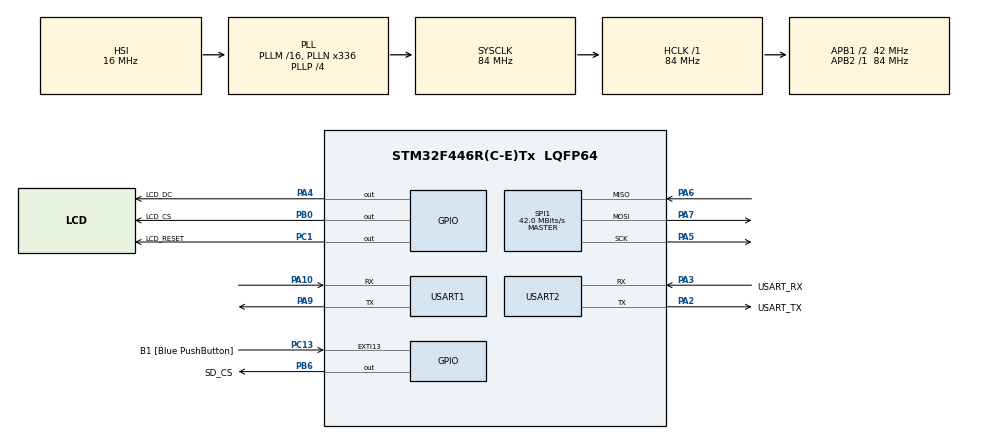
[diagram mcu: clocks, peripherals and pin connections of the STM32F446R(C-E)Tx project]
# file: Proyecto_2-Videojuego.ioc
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Mcu.Family=STM32F4
Mcu.Name=STM32F446R(C-E)Tx
Mcu.Package=LQFP64
NVIC.PriorityGroup=NVIC_PRIORITYGROUP_0
NVIC.SPI1_IRQn=true\:0\:0\:false\:false\:true\:true\:true\:true
NVIC.USART1_IRQn=true\:0\:0\:false\:false\:true\:true\:true\:true
PA10.Mode=Asynchronous
PA10.Signal=USART1_RX
PA13.GPIO_Label=TMS
PA13.Mode=Serial_Wire
PA13.Signal=SYS_JTMS-SWDIO
PA14.GPIO_Label=TCK
PA14.Mode=Serial_Wire
PA14.Signal=SYS_JTCK-SWCLK
PA2.GPIO_Label=USART_TX
PA2.Mode=Asynchronous
PA2.Signal=USART2_TX
PA3.GPIO_Label=USART_RX
PA3.Mode=Asynchronous
PA3.Signal=USART2_RX
PA4.GPIO_Label=LCD_DC
PA4.GPIO_Speed=GPIO_SPEED_FREQ_MEDIUM
PA4.Signal=GPIO_Output
PA5.Mode=Full_Duplex_Master
PA5.Signal=SPI1_SCK
PA6.Mode=Full_Duplex_Master
PA6.Signal=SPI1_MISO
PA7.Mode=Full_Duplex_Master
PA7.Signal=SPI1_MOSI
PA9.Mode=Asynchronous
PA9.Signal=USART1_TX
PB0.GPIO_Label=LCD_CS
PB0.GPIO_Speed=GPIO_SPEED_FREQ_MEDIUM
PB0.Signal=GPIO_Output
PB3.GPIO_Label=SWO
PB3.Signal=SYS_JTDO-SWO
PB6.GPIO_Label=SD_CS
PB6.GPIO_Speed=GPIO_SPEED_FREQ_MEDIUM
PB6.Signal=GPIO_Output
PC1.GPIO_Label=LCD_RESET
PC1.GPIO_Speed=GPIO_SPEED_FREQ_MEDIUM
PC1.Signal=GPIO_Output
PC13.GPIO_Label=B1 [Blue PushButton]
PC13.GPIO_ModeDefaultEXTI=GPIO_MODE_IT_FALLING
PC13.Signal=GPXTI13
PC14-OSC32_IN.Mode=LSE-External-Oscillator
PC14-OSC32_IN.Signal=RCC_OSC32_IN
PC15-OSC32_OUT.Mode=LSE-External-Oscillator
PC15-OSC32_OUT.Signal=RCC_OSC32_OUT
PH0-OSC_IN.Mode=HSE-External-Oscillator
PH0-OSC_IN.Signal=RCC_OSC_IN
PH1-OSC_OUT.Mode=HSE-External-Oscillator
PH1-OSC_OUT.Signal=RCC_OSC_OUT
ProjectManager.HeapSize=0x200
ProjectManager.StackSize=0x400
ProjectManager.TargetToolchain=STM32CubeIDE
RCC.48MHZClocksFreq_Value=84000000
RCC.AHBFreq_Value=84000000
RCC.APB1CLKDivider=RCC_HCLK_DIV2
RCC.APB1Freq_Value=42000000
RCC.APB1TimFreq_Value=84000000
RCC.APB2Freq_Value=84000000
RCC.APB2TimFreq_Value=84000000
RCC.CortexFreq_Value=84000000
RCC.FLatency-AdvancedSettings=FLASH_LATENCY_2
RCC.HCLKFreq_Value=84000000
RCC.HSE_VALUE=8000000
RCC.HSI_VALUE=16000000
RCC.PLLN=336
RCC.PLLP=RCC_PLLP_DIV4
RCC.SYSCLKFreq_VALUE=84000000
RCC.SYSCLKSource=RCC_SYSCLKSOURCE_PLLCLK
RCC.USBFreq_Value=168000000
RCC.VCOOutputFreq_Value=336000000
SPI1.CalculateBaudRate=42.0 MBits/s
SPI1.Direction=SPI_DIRECTION_2LINES
SPI1.Mode=SPI_MODE_MASTER
SPI1.VirtualType=VM_MASTER
USART1.VirtualMode=VM_ASYNC
USART2.VirtualMode=VM_ASYNC
VP_FATFS_VS_Generic.Mode=User_defined
board=NUCLEO-F446RE

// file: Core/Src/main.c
/* USER CODE BEGIN Header */

/**

 ******************************************************************************

 * @file           : main.c

 * @brief          : Solo muestra pantalla_inicio en el ILI9341

 ******************************************************************************

 */

/* USER CODE END Header */

#include "main.h"

#include "fatfs.h"

/* USER CODE BEGIN Includes */

#include "ili9341.h"

#include "bitmaps.h"

#include "nivel1_assets.h"
#include "nivel2_assets.h"
#include "hielo_romper.h"
#include "personajes_acciones.h"
#include "sound8bit.h"

#include <string.h>

/* USER CODE END Includes */

/* USER CODE BEGIN PD */

#define LCD_W       320

#define LCD_H       240

#define START_X       0

#define START_Y       0

#define START_W     320

#define START_H     240

#define BG_COLOR   0x0000

#define SKY_COLOR   0x867D   // celeste

#define SPR_W       20

#define SPR_H       31

#define SPR_Y       104

#define SPR_FRAMES  5

#define CLICK_W        174

#define CLICK_H        24

#define CLICK_X        ((LCD_W - CLICK_W) / 2)   // 73

#define CLICK_Y        201   // 108

#define CLICK_FRAMES   2

#define CLICK_PERIODO  500                       // ms entre cuadros

// Color de fondo = el pixel de inicio.bin justo donde empieza el sprite (x=CLICK_X, y=CLICK_Y)

// Si cambias CLICK_X / CLICK_Y / CLICK_W / CLICK_H, hay que recalcular este valor

#define CLICK_BG  0xF7FF

#define SEL_W         14

#define SEL_H         16

#define SEL1_X        92

//#define SEL1_Y        147

#define SEL_DX        120               // desplazamiento en X de la segunda (ajustalo)

#define SEL2_X        (SEL1_X + SEL_DX)

//#define SEL2_Y        SEL1_Y

#define SEL_PERIODO   400                 // ms visible / ms oculto

#define SEL_TRANSP    0x0000              // color transparente del sprite

#define SEL_Y_POS1    147

#define SEL_Y_POS2    171

#define P1_W        35

#define P1_H        43

#define P1_X        86

#define P1_Y        50

#define P1_FRAMES   5

#define P1_PERIODO  150          // ms entre cuadros

#define P1_TRANSP   0x0000       // color transparente del sprite

#define P2_W        66

#define P2_H        48

#define P2_X        185

#define P2_Y        51

#define P2_FRAMES   5

#define P2_PERIODO  150

#define P2_TRANSP   0x0000

#define SAB_W        85

#define SAB_HMAX     115

#define SELS_W       17

#define SELS_H       40

#define SEL_UP       14           // espacio arriba del sprite para la galleta

#define GAL_GAP      4                     // separación del helado

#define GAL_DX       (SAB_W + GAL_GAP)

#define REG_W        (GAL_DX + SELS_W)     // incluye la galleta

#define REG_H        (SEL_UP + SAB_HMAX)      // 129

#define SAB_Y       35           // y del sprite; la region empieza en SAB_Y - SEL_UP

#define SAB_X_1P     117

#define SAB_X_2P_A   50

#define SAB_X_2P_B   185

#define SAB_PERIODO  150

#define NIV_W   48      // ancho de nivel_selector   <-- pon el tuyo

#define NIV_H   48      // alto de nivel_selector    <-- pon el tuyo

/* USER CODE END PD */

SPI_HandleTypeDef hspi1;

UART_HandleTypeDef huart1;

UART_HandleTypeDef huart2;

/* USER CODE BEGIN PV */

extern uint8_t pantalla_menu[];      // el menu sigue en flash (los selectores copian pedazos de el)

extern uint8_t helado_selector[];

typedef enum { PANT_INICIO, PANT_MENU, PANT_JUGADORES, PANT_SABOR, PANT_NIVEL, PANT_JUEGO, PANT_PAUSA, PANT_GAMEOVER, PANT_VICTORIA, PANT_CREDITOS} Pantalla_t;

volatile Pantalla_t pantalla = PANT_INICIO;

volatile uint8_t cmd_A = 0;

volatile uint8_t cmd_B = 0;

/* Estado completo enviado por cada mando: A,B,UP,DOWN,LEFT,RIGHT. */
static volatile uint8_t mando_estado[2]={0,0};
static volatile uint32_t mando_ultimo[2]={0,0};
uint8_t rx_byte;

char    rx_buf[16];

uint8_t rx_idx = 0;

uint32_t t_sel = 0;

uint8_t  sel_visible = 0;

volatile uint8_t cmd_UP = 0;

volatile uint8_t cmd_DOWN = 0;

uint8_t  sel_pos = 0;            // 0 = posicion 1, 1 = posicion 2

uint16_t sel_y = SEL_Y_POS1;

uint32_t t_p1 = 0;

uint8_t  frame_p1 = 0;

uint8_t  fondo_p1[P1_W * P1_H * 2];   // pedazo de jugador.bin que queda debajo del sprite

static uint8_t  fondo_p2[P2_W * P2_H * 2];

static uint8_t  frame_p2 = 0;

//static uint32_t t_p2 = 0;

static uint8_t  modo_jug = 0;      // 0 = 1 player, 1 = 2 players

static volatile uint8_t cmd_LEFT = 0, cmd_RIGHT = 0;

uint8_t sabor_elegido[2] = {0, 0};   // 0 choco, 1 vainilla, 2 fresa  (J1, J2)

static uint8_t  num_jug = 1, sab_turno = 0, sab_listo = 0;

static uint8_t  sab_cur[2], sab_conf[2], sab_frame[2];

static int8_t   sab_self[2];

static uint32_t t_sab = 0;

static uint8_t fondo_sab[REG_W * REG_H * 2];

static int8_t  fondo_slot = -1;       // de cual jugador es el fondo que hay en la cache

static uint8_t slot_buf[REG_W * REG_H * 2];

static uint8_t fila_tmp[SAB_W * 2];

static uint8_t sel_tmp[SELS_W * 2];

static const char    *sab_file[3] = {"choco.bin", "vainilla.bin", "fresa.bin"};

static const uint8_t  sab_h[3]    = {108, 108, 115};

// Posición de la galleta dentro del grupo de helados:

// chocolate, vainilla, fresa

// Orden: chocolate, vainilla, fresa

// Chocolate, vainilla, fresa

static const uint8_t gal_x_sabor[3] = {0, 25, 48};

static const uint8_t gal_y_sabor[3] = {0, 8, 12};

extern const uint8_t nivel_selector[];

// posicion (esquina superior izquierda) del selector en nivel 1, 2 y 3  <-- ajusta

static const uint16_t niv_x[3] = {35, 85, 135};

static const uint16_t niv_y[3] = {90, 90, 90};

static uint8_t niv_buf[NIV_W * NIV_H * 2];

static uint8_t nivel_sel = 0;

uint8_t nivel_elegido = 0;            // 0 = nivel 1, 1 = nivel 2, 2 = nivel 3 (para el juego)

#define MAX_OBJ ((N_OBJ>N2_OBJ)?N_OBJ:N2_OBJ)
static const ObjDef_t *mapa_objs=nivel1_objs;
static uint8_t mapa_n=N_OBJ,mapa_bananas=N_BANANAS,mapa_uvas=N_UVAS,mapa_nivel=0;
static const char *mapa_fondo="fondo1.bin",*mapa_inicio="n1start.bin";
static uint8_t obj_activo[MAX_OBJ];
static uint8_t hielo_estado[MAX_OBJ];
static uint32_t hielo_inicio[MAX_OBJ];
static volatile uint8_t cmd_A2=0;

static uint8_t frutas_restantes = 0;

static uint8_t fase = 0;                 // 0 = bananas, 1 = uvas

static uint8_t rect_buf[64 * 64 * 2];

/* PWM del buzzer pasivo: PB10 AF1, TIM2 canal 3; contador a 1 MHz. */
static void Juego_Audio_Init(void) {
 __HAL_RCC_GPIOB_CLK_ENABLE();
 __HAL_RCC_TIM2_CLK_ENABLE();
 GPIO_InitTypeDef gpio={0};
 gpio.Pin=GPIO_PIN_10;gpio.Mode=GPIO_MODE_AF_PP;gpio.Pull=GPIO_NOPULL;
 gpio.Speed=GPIO_SPEED_FREQ_LOW;gpio.Alternate=GPIO_AF1_TIM2;
 HAL_GPIO_Init(GPIOB,&gpio);
 uint32_t reloj=HAL_RCC_GetPCLK1Freq();
 if((RCC->CFGR & RCC_CFGR_PPRE1)!=0)reloj*=2;
 TIM2->CR1=0;TIM2->CCER=0;TIM2->DIER=0;
 TIM2->PSC=reloj/1000000u-1;
 TIM2->ARR=999;TIM2->CCR3=0;
 TIM2->CCMR2=(6u<<4)|TIM_CCMR2_OC3PE;
 TIM2->EGR=TIM_EGR_UG;
 TIM2->CCER=TIM_CCER_CC3E;
 TIM2->CR1=TIM_CR1_ARPE|TIM_CR1_CEN;
 Sound8Bit_Init();
}

static void DebugPC(const char* s)

{

  HAL_UART_Transmit(&huart2, (uint8_t*)s, (uint16_t)strlen(s), HAL_MAX_DELAY);

}

// Dibuja una pantalla completa desde la SD. Si falla, avisa por UART y pinta la pantalla roja

static void Pantalla_SD(const char *nombre)

{

  if (!LCD_Bitmap_SD(nombre)) {

    DebugPC("ERROR leyendo: ");

    DebugPC(nombre);

    DebugPC("\r\n");

    LCD_Clear(0xF800);

  }

}

// Se llama cada vez que llega 1 byte por USART1

static int Mando_Hex(char c) {
 if(c>='0' && c<='9')return c-'0';
 if(c>='A' && c<='F')return c-'A'+10;
 if(c>='a' && c<='f')return c-'a'+10;
 return -1;
}
static void Mando_Linea(void) {
 if(rx_idx!=5 || rx_buf[0]!='P' || rx_buf[2]!=':' ||
    (rx_buf[1]!='1' && rx_buf[1]!='2'))return;
 int h=Mando_Hex(rx_buf[3]),l=Mando_Hex(rx_buf[4]);
 if(h<0 || l<0)return;
 uint8_t id=(uint8_t)(rx_buf[1]-'1'),estado=(uint8_t)((h<<4)|l);
 if(estado&0xC0)return;
 uint8_t antes=mando_estado[id];
 if(HAL_GetTick()-mando_ultimo[id]>350)antes=0;
 mando_estado[id]=estado;mando_ultimo[id]=HAL_GetTick();
 uint8_t nuevos=estado & (uint8_t)~antes;
 if(pantalla==PANT_JUEGO && id==1 && (nuevos&1))cmd_A2=1;
 /* J1 controla menus. En sabores, acepta el mando del turno actual. */
 uint8_t acepta=(pantalla==PANT_SABOR)?(id==sab_turno):(id==0);
 if(acepta) {
  if (nuevos & 1) { cmd_A = 1; }
  if (nuevos & 2) { cmd_B = 1; }

  if (nuevos & 4) { cmd_UP = 1; }
  if (nuevos & 8) { cmd_DOWN = 1; }

  if (nuevos & 16) { cmd_LEFT = 1; }
  if (nuevos & 32) { cmd_RIGHT = 1; }

 }
}
void HAL_UART_RxCpltCallback(UART_HandleTypeDef *huart) {
 if(huart->Instance==USART1) {
  char c=(char)rx_byte;
  if(c=='\r' || c=='\n') {
   rx_buf[rx_idx]='\0';Mando_Linea();rx_idx=0;
  } else if(rx_idx<sizeof(rx_buf)-1)rx_buf[rx_idx++]=c;
  else rx_idx=0;
  HAL_UART_Receive_IT(&huart1,&rx_byte,1);
 }
}

// Si hay error (overrun, ruido) se vuelve a armar la recepcion

void HAL_UART_ErrorCallback(UART_HandleTypeDef *huart)

{

  if (huart->Instance == USART1) {

    HAL_UART_Receive_IT(&huart1, &rx_byte, 1);

  }

}

static void Selectores_Dibujar(void)

{

  LCD_SpriteSobreFondo(SEL1_X, sel_y, SEL_W, SEL_H, helado_selector, SEL_TRANSP, pantalla_menu, LCD_W);

  LCD_SpriteSobreFondo(SEL2_X, sel_y, SEL_W, SEL_H, helado_selector, SEL_TRANSP, pantalla_menu, LCD_W);

}

static void Selectores_Borrar(void)

{

  LCD_RestoreFondo(SEL1_X, sel_y, SEL_W, SEL_H, pantalla_menu, LCD_W);

  LCD_RestoreFondo(SEL2_X, sel_y, SEL_W, SEL_H, pantalla_menu, LCD_W);

}

// Mueve los selectores a la posicion 0 o 1 (quedan visibles al moverse)

static void Selector_Mover(uint8_t pos)

{

  Selectores_Borrar();

  sel_pos = pos;

  sel_y = (pos == 0) ? SEL_Y_POS1 : SEL_Y_POS2;

  Selectores_Dibujar();

  sel_visible = 1;

  t_sel = HAL_GetTick();

}

// Dibuja el menu completo con los selectores en su posicion actual

static void Menu_Mostrar(void)

{

  cmd_A = 0; cmd_B = 0; cmd_UP = 0; cmd_DOWN = 0;   // limpia comandos viejos

  LCD_Bitmap(START_X, START_Y, START_W, START_H, pantalla_menu);

  Selectores_Dibujar();

  sel_visible = 1;

  t_sel = HAL_GetTick();

  pantalla = PANT_MENU;

}

// Lee de jugador.bin el fondo que queda debajo del sprite (se hace una vez al entrar a la pantalla)

static void P1_CargarFondo(void)

{

  FIL f;

  UINT br;

  if (f_open(&f, "imagen.bin", FA_READ) != FR_OK) return;

  for (int j = 0; j < P1_H; j++) {

    f_lseek(&f, ((P1_Y + j) * LCD_W + P1_X) * 2);

    f_read(&f, &fondo_p1[j * P1_W * 2], P1_W * 2, &br);

  }

  f_close(&f);

}

static void P2_CargarFondo(void)

{

  FIL f;

  UINT br;

  if (f_open(&f, "imagen.bin", FA_READ) != FR_OK) return;

  for (int j = 0; j < P2_H; j++) {

    f_lseek(&f, ((P2_Y + j) * LCD_W + P2_X) * 2);

    f_read(&f, &fondo_p2[j * P2_W * 2], P2_W * 2, &br);

  }

  f_close(&f);

}

void Jugadores_Dibujar(void) {

  LCD_SpritePatch(P1_X, P1_Y, P1_W, P1_H, (const unsigned char*)player1_seleccion, P1_FRAMES,

                  (modo_jug == 0) ? frame_p1 : 0, P1_TRANSP, fondo_p1);

  LCD_SpritePatch(P2_X, P2_Y, P2_W, P2_H, (const unsigned char*)player2_seleccion, P2_FRAMES,

                  (modo_jug == 1) ? frame_p2 : 0, P2_TRANSP, fondo_p2);

}

static uint8_t SD_LeerFila(FIL *f, uint32_t off, uint8_t *dst, uint32_t n) {

  UINT br;

  if (f_lseek(f, off) != FR_OK) return 0;

  if (f_read(f, dst, n, &br) != FR_OK || br != n) return 0;

  return 1;

}

void Jugadores_Mostrar(void) {

  pantalla = PANT_JUGADORES;

  Pantalla_SD("imagen.bin");          // el nombre que uses para la imagen de jugadores

  P1_CargarFondo(); P2_CargarFondo();

  modo_jug = 0; frame_p1 = 0; frame_p2 = 0;

  cmd_LEFT = 0; cmd_RIGHT = 0;

  Jugadores_Dibujar();

  t_p1 = HAL_GetTick();

  DebugPC("JUGADORES\r\n");

}

static uint16_t Sab_X(uint8_t slot) {

  if (num_jug == 1) return SAB_X_1P;

  return slot ? SAB_X_2P_B : SAB_X_2P_A;

}

// Slot_CargarFondo: ya no usa el indice [slot], y avisa de quien es la cache

static uint8_t Slot_CargarFondo(uint8_t slot) {

  FIL f; uint16_t r;

  uint16_t x = Sab_X(slot), y = SAB_Y - SEL_UP;

  if (f_open(&f, "sabor.bin", FA_READ) != FR_OK) return 0;

  for (r = 0; r < REG_H; r++) {

    if (!SD_LeerFila(&f, ((uint32_t)(y + r) * LCD_W + x) * 2, &fondo_sab[r * REG_W * 2], REG_W * 2)) { f_close(&f); return 0; }

  }

  f_close(&f);

  fondo_slot = slot;

  return 1;

}

static uint8_t Slot_Dibujar(uint8_t slot, uint8_t sabor, uint8_t frame, int8_t selframe) {

  FIL f; UINT br; uint16_t r, c;

  uint8_t h = sab_h[sabor];

  uint8_t yoff = SAB_HMAX - h;                       // alineado abajo

  // Centra la galleta verticalmente junto al sabor actual

  uint16_t gal_x = gal_x_sabor[sabor];

  uint16_t gal_y = SEL_UP + yoff + gal_y_sabor[sabor];

  if (fondo_slot != slot) { if (!Slot_CargarFondo(slot)) return 0; }

  memcpy(slot_buf, fondo_sab, sizeof(slot_buf));

  // galleta (detras)

  if (selframe >= 0) {

    if (f_open(&f, "sabsel.bin", FA_READ) != FR_OK) return 0;

    f_lseek(&f, (uint32_t)selframe * SELS_W * SELS_H * 2);

    for (r = 0; r < SELS_H; r++) {

      if (f_read(&f, sel_tmp, SELS_W * 2, &br) != FR_OK || br != SELS_W * 2) { f_close(&f); return 0; }

      for (c = 0; c < SELS_W; c++) {

        if (sel_tmp[2 * c] || sel_tmp[2 * c + 1]) {

        	uint8_t *d = &slot_buf[

				  ((gal_y + r) * REG_W + gal_x + c) * 2

        	];

          d[0] = sel_tmp[2 * c]; d[1] = sel_tmp[2 * c + 1];

        }

      }

    }

    f_close(&f);

  }

  // sabor (adelante)

  if (f_open(&f, sab_file[sabor], FA_READ) != FR_OK) return 0;

  f_lseek(&f, (uint32_t)frame * SAB_W * h * 2);

  for (r = 0; r < h; r++) {

    if (f_read(&f, fila_tmp, SAB_W * 2, &br) != FR_OK || br != SAB_W * 2) { f_close(&f); return 0; }

    for (c = 0; c < SAB_W; c++) {

      if (fila_tmp[2 * c] || fila_tmp[2 * c + 1]) {

        uint8_t *d = &slot_buf[((SEL_UP + yoff + r) * REG_W + c) * 2];

        d[0] = fila_tmp[2 * c]; d[1] = fila_tmp[2 * c + 1];

      }

    }

  }

  f_close(&f);

  LCD_Bitmap(Sab_X(slot), SAB_Y - SEL_UP, REG_W, REG_H, slot_buf);

  return 1;

}

void Sab_Redibujar(uint8_t slot) {

  if (!Slot_Dibujar(slot, sab_cur[slot], sab_frame[slot], sab_self[slot]))

    DebugPC("ERROR SD sabor\r\n");

}

void Sabor_Mostrar(void) {

  pantalla = PANT_SABOR;

  Pantalla_SD("sabor.bin");

  num_jug = modo_jug + 1;

  sab_turno = 0; sab_listo = 0;

  for (uint8_t i = 0; i < 2; i++) { sab_cur[i] = 0; sab_conf[i] = 0; sab_frame[i] = 0; sab_self[i] = -1; }

  cmd_UP = 0; cmd_DOWN = 0; cmd_LEFT = 0; cmd_RIGHT = 0; cmd_A = 0; cmd_B = 0;

  if (!Slot_CargarFondo(0)) DebugPC("ERROR fondo sabor\r\n");

  if (num_jug == 2 && !Slot_CargarFondo(1)) DebugPC("ERROR fondo sabor\r\n");

  Sab_Redibujar(0);

  if (num_jug == 2) Sab_Redibujar(1);

  t_sab = HAL_GetTick();

  DebugPC("SABOR\r\n");

}

static uint8_t niv_buf[NIV_W * NIV_H * 2];

// lee de levelsel.bin el pedazo de fondo que queda en la posicion n

static uint8_t Nivel_LeerFondo(uint8_t n) {

  FIL f; uint16_t r;

  if (f_open(&f, "levelsel.bin", FA_READ) != FR_OK) return 0;

  for (r = 0; r < NIV_H; r++) {

    if (!SD_LeerFila(&f, ((uint32_t)(niv_y[n] + r) * LCD_W + niv_x[n]) * 2, &niv_buf[r * NIV_W * 2], NIV_W * 2)) { f_close(&f); return 0; }

  }

  f_close(&f);

  return 1;

}

static void Nivel_Borrar(uint8_t n) {

  if (Nivel_LeerFondo(n)) LCD_Bitmap(niv_x[n], niv_y[n], NIV_W, NIV_H, niv_buf);

}

static void Nivel_Dibujar(uint8_t n) {

  if (!Nivel_LeerFondo(n)) { DebugPC("ERROR levelsel\r\n"); return; }

  for (uint16_t i = 0; i < NIV_W * NIV_H; i++) {

    if (nivel_selector[2 * i] || nivel_selector[2 * i + 1]) {      // 0x0000 = transparente

      niv_buf[2 * i] = nivel_selector[2 * i];

      niv_buf[2 * i + 1] = nivel_selector[2 * i + 1];

    }

  }

  LCD_Bitmap(niv_x[n], niv_y[n], NIV_W, NIV_H, niv_buf);

}

static void Nivel_Mover(uint8_t n) {

  Nivel_Borrar(nivel_sel);

  nivel_sel = n;

  Nivel_Dibujar(n);

}

void Nivel_Mostrar(void) {

  pantalla = PANT_NIVEL;

  Pantalla_SD("levelsel.bin");

  nivel_sel = 0;

  cmd_UP = 0; cmd_DOWN = 0; cmd_LEFT = 0; cmd_RIGHT = 0; cmd_A = 0; cmd_B = 0;

  Nivel_Dibujar(0);

  DebugPC("NIVEL\r\n");

}

static const uint8_t *Spr_De(uint8_t tipo, int16_t *w, int16_t *h)

{

  if (tipo == TIPO_BLOQUE) { *w = BLOQUE_W; *h = BLOQUE_H; return bloque_spr; }

  if (tipo == TIPO_BANANA) { *w = BANANA_W; *h = BANANA_H; return banana_spr; }

  *w = UVA_W; *h = UVA_H; return uva_spr;

}

// Copia un sprite dentro de rect_buf (recortado al rectangulo); 0x0000 es transparente

static void Blit_Rect(const uint8_t *spr, int16_t sw, int16_t sh, int16_t sx, int16_t sy,

                      int16_t rx, int16_t ry, int16_t rw, int16_t rh)

{

  for (int16_t j = 0; j < sh; j++) {

    int16_t py = sy + j - ry;

    if (py < 0 || py >= rh) continue;

    for (int16_t i = 0; i < sw; i++) {

      int16_t px = sx + i - rx;

      if (px < 0 || px >= rw) continue;

      uint8_t hi = spr[(j * sw + i) * 2], lo = spr[(j * sw + i) * 2 + 1];

      if (hi == 0 && lo == 0) continue;

      rect_buf[(py * rw + px) * 2]     = hi;

      rect_buf[(py * rw + px) * 2 + 1] = lo;

    }

  }

}

// Redibuja un rectangulo: fondo limpio (SD) + objetos activos en orden

static FIL fondo_cache;
static const char *fondo_cache_nombre=0;
static uint8_t fondo_cache_abierto=0;
static void Juego_ActoresRect(int rx,int ry,int rw,int rh);

static uint8_t Nivel_RedibujarRect(int16_t rx, int16_t ry, int16_t rw, int16_t rh)

{

  int16_t r, w, h;

  if ((uint32_t)(rw * rh * 2) > sizeof(rect_buf)) return 0;

  if(!fondo_cache_abierto || fondo_cache_nombre!=mapa_fondo){
    if(fondo_cache_abierto)f_close(&fondo_cache);
    fondo_cache_abierto=0;
    if(f_open(&fondo_cache,mapa_fondo,FA_READ)!=FR_OK)return 0;
    fondo_cache_abierto=1;fondo_cache_nombre=mapa_fondo;
  }

  for (r = 0; r < rh; r++) {

    if (!SD_LeerFila(&fondo_cache, ((uint32_t)(ry + r) * LCD_W + rx) * 2, &rect_buf[r * rw * 2], rw * 2)) { f_close(&fondo_cache); fondo_cache_abierto=0; return 0; }

  }

  for (uint8_t i = 0; i < mapa_n; i++) {

    if (!obj_activo[i]) continue;

    const uint8_t *s = Spr_De(mapa_objs[i].tipo, &w, &h);

    if(mapa_objs[i].tipo==TIPO_BLOQUE && hielo_estado[i])s=hielo_romper_spr[hielo_estado[i]-1];
    Blit_Rect(s, w, h, mapa_objs[i].x, mapa_objs[i].y, rx, ry, rw, rh);

  }

  Juego_ActoresRect(rx, ry, rw, rh);
  LCD_Bitmap(rx, ry, rw, rh, rect_buf);

  return 1;

}

static void Obj_Redibujar(uint8_t i)

{

  int16_t w, h;

  Spr_De(mapa_objs[i].tipo, &w, &h);

  Nivel_RedibujarRect(mapa_objs[i].x, mapa_objs[i].y, w, h);

}

/* Motor de personajes y colisiones */
/* Incluir en main.c despues de Obj_Redibujar, antes de Nivel1_Mostrar. */
typedef struct { const uint8_t *p; uint8_t w,h,n; } JuegoSprite;
typedef struct { int16_t x,y; uint8_t dir,frame,sabor; } JuegoActor;
/* x,y = centro de los pies. dir: derecha, abajo, izquierda, arriba. */
static JuegoActor jugador, jugador2, monstruo;
static uint8_t juego_dos;
static uint32_t paso_jugador[2];
static uint32_t accion_inicio[2],muerte_inicio;
static uint8_t accion_activa[2],muriendo;
static uint8_t juego_fin; /* 0 jugando, 1 derrota, 2 victoria */
static uint32_t juego_tick, juego_anim,pausa_inicio;
static uint32_t vaca_busqueda;
static int8_t vaca_ruta=-1;
static uint32_t juego_rng = 0x194731u;
void Fruta_Comer(uint8_t i);
static const JuegoSprite juego_sprites[3][3] = {
 {{(const uint8_t*)choco_ladoSprite,20,31,5},{(const uint8_t*)choco_frenteSprite,20,31,4},{(const uint8_t*)choco_espaldaSprite,20,31,4}},
 {{(const uint8_t*)vainilla_ladoSprite,20,29,5},{(const uint8_t*)vainilla_frenteSprite,21,31,4},{(const uint8_t*)vainilla_espaldaSprite,21,31,4}},
 {{(const uint8_t*)fresa_ladoSprite,20,28,5},{(const uint8_t*)fresa_frenteSprite,21,31,4},{(const uint8_t*)fresa_espaldaSprite,21,31,4}}
};
static const JuegoSprite troll_sprites[3] = {
 {(const uint8_t*)lado_Troll,22,26,4},
 {(const uint8_t*)frente_Troll,31,25,4},
 {(const uint8_t*)espalda_Troll,32,25,4}
};
static const JuegoSprite vaca_sprites[3] = {
 {(const uint8_t*)lado_Vaca,21,33,4},
 {(const uint8_t*)frente_Vaca,20,35,4},
 {(const uint8_t*)espalda_Vaca,20,35,4}
};
_Static_assert(sizeof(lado_Vaca)==21*33*4*2,"Tamano lado Vaca");
_Static_assert(sizeof(frente_Vaca)==20*35*4*2,"Tamano frente Vaca");
_Static_assert(sizeof(espalda_Vaca)==20*35*4*2,"Tamano espalda Vaca");
static const JuegoSprite romper_sprites[3][3]={
 {{lado_HieloC,34,41,5},{frente_HieloC,31,41,6},{espalda_HieloC,29,41,6}},
 {{lado_HieloV,34,41,5},{frente_HieloV,31,41,6},{espalda_HieloV,29,41,6}},
 {{lado_HieloF,34,41,5},{frente_HieloF,31,41,6},{espalda_HieloF,29,41,6}}
};
static const JuegoSprite muerte_sprites[3]={
 {chocolate_Muerto,27,32,5},
 {vainilla_Muerto,27,34,5},{fresa_Muerto,27,34,5}
};
static const int8_t juego_dx[4]={1,0,-1,0}, juego_dy[4]={0,1,0,-1};
static uint8_t Juego_Solapa(int x,int y,int w,int h,int a,int b,int c,int d) {
 return x<a+c && x+w>a && y<b+d && y+h>b;
}
static uint8_t Juego_Libre(int x,int y) {
 if(mapa_nivel==1) {
  /* Nivel 2: bordes fijos del fondo, independientes de los hielos rompibles.
     Interior x=31..290, y=46..191; margen para el sprite completo. */
  if(x-11<31 || x+11>290 || y-35<46 || y>191)return 0;
  /* Figuras fijas en las cuatro esquinas. */
  if(Juego_Solapa(x-6,y-7,12,7,31,46,32,31) ||
     Juego_Solapa(x-6,y-7,12,7,250,46,40,31) ||
     Juego_Solapa(x-6,y-7,12,7,31,154,32,37) ||
     Juego_Solapa(x-6,y-7,12,7,250,154,40,37))return 0;
  /* Iglu del nivel 2, ajustado a preview_inicio(2).png. */
  if(Juego_Solapa(x-6,y-7,12,7,148,84,22,20) ||
     Juego_Solapa(x-6,y-7,12,7,141,94,38,10) ||
     Juego_Solapa(x-6,y-7,12,7,127,104,64,30) ||
     Juego_Solapa(x-6,y-7,12,7,134,134,52,16) ||
     Juego_Solapa(x-6,y-7,12,7,147,150,27,6))return 0;
 } else {
  if(x-6<17 || x+6>302 || y<37 || y>200)return 0;
  if(Juego_Solapa(x-6,y-7,12,7,143,64,34,15) ||
     Juego_Solapa(x-6,y-7,12,7,132,79,55,16) ||
     Juego_Solapa(x-6,y-7,12,7,125,95,70,25) ||
     Juego_Solapa(x-6,y-7,12,7,139,120,43,15))return 0;
 }
 for(uint8_t i=0;i<mapa_n;i++) {
  if(obj_activo[i] && mapa_objs[i].tipo==TIPO_BLOQUE &&
     Juego_Solapa(x-6,y-7,12,7,mapa_objs[i].x,mapa_objs[i].y+9,BLOQUE_W,BLOQUE_H-9)) return 0;
 }
 return 1;
}
static JuegoSprite Juego_Sprite(const JuegoActor *a,uint8_t troll) {
 uint8_t vista=a->dir==3?2:(a->dir==1?1:0);
 if(!troll){
  uint8_t id=(a==&jugador2);
  if(muriendo)return muerte_sprites[a->sabor];
  if(accion_activa[id])return romper_sprites[a->sabor][vista];
 }
 return troll?(mapa_nivel?vaca_sprites[vista]:troll_sprites[vista]):juego_sprites[a->sabor][vista];
}
static void Juego_Blit(const JuegoActor *a,uint8_t troll,int rx,int ry,int rw,int rh) {
 JuegoSprite s=Juego_Sprite(a,troll);
 int sx=a->x-s.w/2,sy=a->y-s.h;
 for(int j=0;j<s.h;j++) for(int i=0;i<s.w;i++) {
  int px=sx+i-rx,py=sy+j-ry;
  if(px<0 || px>=rw || py<0 || py>=rh) continue;
  /* La Vaca lateral mira a la derecha; los otros sprites, a la izquierda. */
  uint8_t flip=(troll && mapa_nivel==1)?(a->dir==2):(a->dir==0);
  int col=flip?s.w-1-i:i;
  uint8_t frame=a->frame%s.n;
  if(!troll){
   if(muriendo){frame=(HAL_GetTick()-muerte_inicio)/110;if(frame>=s.n)frame=s.n-1;}
   else if(accion_activa[a==&jugador2]){frame=(HAL_GetTick()-accion_inicio[a==&jugador2])/70;if(frame>=s.n)frame=s.n-1;}
  }
  uint32_t k=((uint32_t)j*s.w*s.n+frame*s.w+col)*2;
  uint8_t hi=s.p[k],lo=s.p[k+1];
  if(!(hi|lo)) continue;
  rect_buf[(py*rw+px)*2]=hi;rect_buf[(py*rw+px)*2+1]=lo;
 }
}
static void Juego_ActoresRect(int rx,int ry,int rw,int rh) {
 const JuegoActor *actores[3]={&jugador,&monstruo,&jugador2};
 uint8_t n=juego_dos?3:2;
 for(uint8_t i=0;i<n;i++)for(uint8_t j=i+1;j<n;j++)
  if(actores[i]->y>actores[j]->y){const JuegoActor *tmp=actores[i];actores[i]=actores[j];actores[j]=tmp;}
 for(uint8_t i=0;i<n;i++)Juego_Blit(actores[i],actores[i]==&monstruo,rx,ry,rw,rh);
}
static void Juego_ParcheMovimiento(int ox,int oy,int nx,int ny) {
 int rx=(ox<nx?ox:nx)-17, ry=(oy<ny?oy:ny)-43;
 int rw=34+(ox>nx?ox-nx:nx-ox), rh=44+(oy>ny?oy-ny:ny-oy);
 if(rx<17){rw-=17-rx;rx=17;}
 if(ry<0){rh+=ry;ry=0;}
 if(rx+rw>303)rw=303-rx;
 if(ry+rh>(mapa_nivel?208:201))rh=(mapa_nivel?208:201)-ry;
 if(rw<=0||rh<=0)return;
 /* Un solo parche: fondo + objetos + ambos actores en su posicion final. */
 Nivel_RedibujarRect(rx,ry,rw,rh);
}
static void Juego_Parche(int x,int y) {
 Juego_ParcheMovimiento(x,y,x,y);
}
static void Juego_Cartel(const char *nombre,uint16_t w,uint16_t h){
 FIL f;uint8_t fila[242*2];
 if(w>242 || f_open(&f,nombre,FA_READ)!=FR_OK){DebugPC("ERROR cartel SD\r\n");return;}
 if(f_size(&f)!=(uint32_t)w*h*2){f_close(&f);DebugPC("ERROR tamano cartel\r\n");return;}
 for(uint16_t y=0;y<h;y++){
  if(!SD_LeerFila(&f,(uint32_t)y*w*2,fila,w*2)){DebugPC("ERROR fila cartel\r\n");break;}
  LCD_Bitmap((LCD_W-w)/2,(LCD_H-h)/2+y,w,1,fila);
 }
 f_close(&f);
}
static void Juego_Terminar(uint8_t victoria) {
 if(!victoria && !muriendo){
  juego_fin=1;muriendo=1;muerte_inicio=HAL_GetTick();accion_activa[0]=accion_activa[1]=0;
  Sound8Bit_Stop();
  Juego_Parche(jugador.x,jugador.y);if(juego_dos)Juego_Parche(jugador2.x,jugador2.y);
  return;
 }
 muriendo=0;juego_fin=victoria?2:1;Sound8Bit_Stop();
 DebugPC(victoria?"VICTORIA\r\n":"GAME OVER\r\n");
 pantalla=victoria?PANT_VICTORIA:PANT_GAMEOVER;
 cmd_A=cmd_A2=cmd_B=cmd_UP=cmd_DOWN=cmd_LEFT=cmd_RIGHT=0;
 Juego_Cartel(victoria?"winner.bin":"gameover.bin",242,148);
}
static uint8_t Juego_Contacto(void) {
 return Juego_Solapa(jugador.x-6,jugador.y-9,12,9,monstruo.x-8,monstruo.y-10,16,10) ||
 (juego_dos && Juego_Solapa(jugador2.x-6,jugador2.y-9,12,9,monstruo.x-8,monstruo.y-10,16,10));
}
static void Juego_Recoger(const JuegoActor *a) {
 for(uint8_t i=0;i<mapa_n && !juego_fin;i++) {
  if(obj_activo[i] && mapa_objs[i].tipo==(fase?TIPO_UVA:TIPO_BANANA)) {
   int16_t w,h;Spr_De(mapa_objs[i].tipo,&w,&h);
   if(Juego_Solapa(a->x-6,a->y-10,12,10,mapa_objs[i].x,mapa_objs[i].y,w,h))Fruta_Comer(i);
  }
 }
}
static uint8_t Juego_Mover(JuegoActor *a,uint8_t dir,uint8_t pasos,uint8_t troll) {
 uint8_t movio=0;a->dir=dir;
 for(uint8_t k=0;k<pasos;k++) {
  int x=a->x+juego_dx[dir],y=a->y+juego_dy[dir];
  if(!Juego_Libre(x,y))break;
  a->x=x;a->y=y;movio=1;
  if(Juego_Contacto()){Juego_Terminar(0);break;}
  if(!troll)Juego_Recoger(a);
  if(juego_fin)break;
 }
 return movio;
}
static uint8_t Juego_Buscar(JuegoActor *a,int cx,int cy) {
 int mejor=32767;uint8_t ok=0;
 for(int y=37;y<=(mapa_nivel?207:199);y++)for(int x=24;x<=295;x++)if(Juego_Libre(x,y)) {
  int dist=(x-cx)*(x-cx)+(y-cy)*(y-cy);
  if(dist<mejor){mejor=dist;a->x=x;a->y=y;ok=1;}
 }
 return ok;
}
static void Juego_Iniciar(void) {
 for (uint8_t i = 0; i < mapa_n; i++) { hielo_estado[i] = 0; }
 cmd_A2 = 0;
 muriendo=0;accion_activa[0]=accion_activa[1]=0;Sound8Bit_StartBackground();
 juego_fin=0;juego_dos=(modo_jug!=0);jugador2=(JuegoActor){0,0,1,0,0};jugador=(JuegoActor){0,0,1,0,0};monstruo=(JuegoActor){0,0,0,0,0};
 jugador.sabor=sabor_elegido[0]<3?sabor_elegido[0]:0;
 if(!Juego_Buscar(&jugador,160,158)||!Juego_Buscar(&monstruo,40,90)){Juego_Terminar(0);return;}
 jugador2.sabor=sabor_elegido[1]<3?sabor_elegido[1]:0;
 if(juego_dos && !Juego_Buscar(&jugador2,183,180)){Juego_Terminar(0);return;}
 vaca_ruta=-1;vaca_busqueda=HAL_GetTick()-180;
 juego_tick=juego_anim=HAL_GetTick();paso_jugador[0]=paso_jugador[1]=juego_tick-120;juego_rng^=juego_tick;
 if(juego_dos)Juego_Parche(jugador2.x,jugador2.y);
 Juego_Parche(jugador.x,jugador.y);Juego_Parche(monstruo.x,monstruo.y);
}
static void Hielo_Atacar(const JuegoActor *a) {
 int x=a->x-6,y=a->y-7,w=12,h=7;
 /* Extiende la zona de contacto 18 pixeles en la direccion de la mirada. */
 if(a->dir==0)w+=18;
 else if(a->dir==2){x-=18;w+=18;}
 else if(a->dir==1)h+=18;
 else {y-=18;h+=18;}
 int mejor=-1,distancia=32767;
 for(uint8_t i=0;i<mapa_n;i++) {
  if(!obj_activo[i] || mapa_objs[i].tipo!=TIPO_BLOQUE || hielo_estado[i])continue;
  if(!Juego_Solapa(x,y,w,h,mapa_objs[i].x,mapa_objs[i].y+9,BLOQUE_W,BLOQUE_H-9))continue;
  int dx=mapa_objs[i].x+BLOQUE_W/2-a->x,dy=mapa_objs[i].y+BLOQUE_H-a->y;
  int d=dx*dx+dy*dy;if(d<distancia){distancia=d;mejor=i;}
 }
 if(mejor>=0){
  uint8_t id=(a==&jugador2);accion_activa[id]=1;accion_inicio[id]=HAL_GetTick();
  hielo_estado[mejor]=1;hielo_inicio[mejor]=HAL_GetTick();Obj_Redibujar((uint8_t)mejor);}
}
static void Hielo_Actualizar(uint32_t now) {
 for(uint8_t i=0;i<mapa_n;i++)if(hielo_estado[i]) {
  uint32_t edad=now-hielo_inicio[i];
  if(edad>=180){hielo_estado[i]=0;obj_activo[i]=0;Obj_Redibujar(i);}
  else if(edad>=90 && hielo_estado[i]==1){hielo_estado[i]=2;Obj_Redibujar(i);}
 }
}
static int8_t Vaca_Perseguir(void) {
 /* Busca al jugador mas cercano dentro de 90 pixeles. */
 const JuegoActor *objetivo=&jugador;
 int dx=jugador.x-monstruo.x,dy=jugador.y-monstruo.y,dist=dx*dx+dy*dy;
 if(juego_dos){int x=jugador2.x-monstruo.x,y=jugador2.y-monstruo.y,d=x*x+y*y;if(d<dist){objetivo=&jugador2;dist=d;}}
 if(dist>90*90)return -1;
 /* BFS local: rutas de 6 px, comprobadas pixel por pixel. */
 static int8_t primera[25*25];static uint16_t cola[25*25];
 memset(primera,-2,sizeof(primera));
 uint16_t ini=12*25+12,cabeza=0,fin=0;cola[fin++]=ini;primera[ini]=-1;
 int mejor=dist;int8_t salida=-1;
 while(cabeza<fin){
  uint16_t celda=cola[cabeza++];int cx=celda%25,cy=celda/25;
  int x=monstruo.x+(cx-12)*6,y=monstruo.y+(cy-12)*6;
  int tx=x-objetivo->x,ty=y-objetivo->y,d=tx*tx+ty*ty;
  if(d<mejor){mejor=d;salida=primera[celda];if(d<=9)break;}
  for(uint8_t dir=0;dir<4;dir++){
   int nx=cx+juego_dx[dir],ny=cy+juego_dy[dir];
   if(nx<0||nx>=25||ny<0||ny>=25)continue;
   uint16_t siguiente=ny*25+nx;if(primera[siguiente]!=-2)continue;
   uint8_t libre=1;
   for(uint8_t k=1;k<=6;k++)if(!Juego_Libre(x+juego_dx[dir]*k,y+juego_dy[dir]*k)){libre=0;break;}
   if(!libre)continue;
   primera[siguiente]=(celda==ini)?(int8_t)dir:primera[celda];cola[fin++]=siguiente;
  }
 }
 return salida;
}
static void Juego_Pausar(void){
 Sound8Bit_Stop();
 pausa_inicio=HAL_GetTick();pantalla=PANT_PAUSA;
 cmd_A=cmd_A2=cmd_B=cmd_UP=cmd_DOWN=cmd_LEFT=cmd_RIGHT=0;
 Juego_Cartel("pausa.bin",196,98);
}
static void Juego_Reanudar(void){
 uint32_t now=HAL_GetTick(),duracion=now-pausa_inicio;
 for(uint8_t i=0;i<mapa_n;i++)if(hielo_estado[i])hielo_inicio[i]+=duracion;
 for(uint8_t id=0;id<2;id++)if(accion_activa[id])accion_inicio[id]+=duracion;
 /* Reconstruye desde fondo limpio y el estado actual, sin reiniciar objetos. */
 pantalla=PANT_JUEGO;
 for(int y=0;y<LCD_H;y+=24)for(int x=0;x<LCD_W;x+=32)
  Nivel_RedibujarRect(x,y,32,(LCD_H-y<24)?LCD_H-y:24);
 if(fase){
  if(mapa_nivel)LCD_Bitmap(BARRA2_X,BARRA2_Y,BARRA2_W,BARRA2_H,(unsigned char*)barra_uvas2);
  else LCD_Bitmap(BARRA_X,BARRA_Y,BARRA_W,BARRA_H,(unsigned char*)barra_uvas);
 }
 now=HAL_GetTick();juego_tick=juego_anim=now;paso_jugador[0]=paso_jugador[1]=now;
 vaca_busqueda=now-180;vaca_ruta=-1;Sound8Bit_StartBackground();
 cmd_A=cmd_A2=cmd_B=cmd_UP=cmd_DOWN=cmd_LEFT=cmd_RIGHT=0;
}
static void Juego_Actualizar(void) {
 if(muriendo){
  cmd_A=cmd_A2=cmd_B=cmd_UP=cmd_DOWN=cmd_LEFT=cmd_RIGHT=0;
  uint32_t now=HAL_GetTick();
  if(now-muerte_inicio>=650){Juego_Terminar(0);return;}
  if(now-juego_anim>=100){juego_anim=now;Juego_Parche(jugador.x,jugador.y);if(juego_dos)Juego_Parche(jugador2.x,jugador2.y);}
  return;
 }
 if(cmd_B){cmd_B=0;Juego_Pausar();return;}
 if(juego_fin){cmd_UP=cmd_DOWN=cmd_LEFT=cmd_RIGHT=cmd_A=cmd_A2=0;return;}
 uint32_t now=HAL_GetTick();if(now-juego_tick<35)return;juego_tick=now;
 Hielo_Actualizar(now);
 for(uint8_t id=0;id<2;id++)if(accion_activa[id] && now-accion_inicio[id]>=420){
  accion_activa[id]=0;JuegoActor *a=id?&jugador2:&jugador;Juego_Parche(a->x,a->y);
 }
 if(cmd_A){cmd_A=0;Hielo_Atacar(&jugador);}
 if(cmd_A2){cmd_A2=0;if(juego_dos)Hielo_Atacar(&jugador2);}
 int jx=jugador.x,jy=jugador.y,mx=monstruo.x,my=monstruo.y;
 int j2x=jugador2.x,j2y=jugador2.y;
 cmd_UP=cmd_DOWN=cmd_LEFT=cmd_RIGHT=cmd_A=0;
 for(uint8_t id=0;id<(juego_dos?2:1) && !juego_fin;id++) {
  uint8_t estado=mando_estado[id];
  if(now-mando_ultimo[id]>350)estado=0;
  int dir=-1;
  if(estado&4)dir=3;else if(estado&8)dir=1;else if(estado&16)dir=2;else if(estado&32)dir=0;
  if(dir>=0 && !accion_activa[id] && now-paso_jugador[id]>=120) {
   paso_jugador[id]=now;Juego_Mover(id?&jugador2:&jugador,(uint8_t)dir,16,0);
  }
 }
 if(!juego_fin) {
  /* Patrulla; al bloquearse elige otra salida, sin borrar frutas. */
  juego_rng^=juego_rng<<13;juego_rng^=juego_rng>>17;juego_rng^=juego_rng<<5;
  uint8_t dir_mon=monstruo.dir;
  /* Decide en cruces y espacios abiertos; evita regresar si hay otra salida. */
  if(mapa_nivel && now-vaca_busqueda>=180){vaca_busqueda=now;vaca_ruta=Vaca_Perseguir();}
  if(mapa_nivel && vaca_ruta>=0)dir_mon=(uint8_t)vaca_ruta;
  if((!mapa_nivel || vaca_ruta<0) && (juego_rng&7)==0) {
   uint8_t opciones[4],n=0;
   for(uint8_t d=0;d<4;d++)
    if(d!=((monstruo.dir+2)&3) &&
       Juego_Libre(monstruo.x+juego_dx[d]*3,monstruo.y+juego_dy[d]*3))opciones[n++]=d;
   if(n)dir_mon=opciones[(juego_rng>>8)%n];
  }
  if(!Juego_Mover(&monstruo,dir_mon,3,1) && !juego_fin)
   for(uint8_t k=0;k<4;k++) {
    uint8_t d=((juego_rng>>16)+k)&3;
    if(Juego_Mover(&monstruo,d,3,1)||juego_fin)break;
   }
 }
 if(juego_fin)return; /* No dibujar el mapa encima de winner/gameover. */
 uint8_t animar=(now-juego_anim>=140);
 if(animar){juego_anim=now;jugador.frame++;jugador2.frame++;monstruo.frame++;}
 if(animar || jx!=jugador.x || jy!=jugador.y)Juego_ParcheMovimiento(jx,jy,jugador.x,jugador.y);
 if(animar || mx!=monstruo.x || my!=monstruo.y)Juego_ParcheMovimiento(mx,my,monstruo.x,monstruo.y);
 if(juego_dos && (animar || j2x!=jugador2.x || j2y!=jugador2.y))Juego_ParcheMovimiento(j2x,j2y,jugador2.x,jugador2.y);
}

static void Nivel_JuegoMostrar(uint8_t nivel)

{

  mapa_nivel=nivel;
  mapa_objs=nivel?nivel2_objs:nivel1_objs;
  mapa_n=nivel?N2_OBJ:N_OBJ;
  mapa_bananas=nivel?N2_BANANAS:N_BANANAS;
  mapa_uvas=nivel?N2_UVAS:N_UVAS;
  mapa_fondo=nivel?"fondo2.bin":"fondo1.bin";
  mapa_inicio=nivel?"n2start.bin":"n1start.bin";
  pantalla = PANT_JUEGO;

  Pantalla_SD(mapa_inicio);                     // nivel completo con bananas

  for (uint8_t i = 0; i < mapa_n; i++) obj_activo[i] = (mapa_objs[i].tipo != TIPO_UVA);

  fase = 0; frutas_restantes = mapa_bananas;

  cmd_UP = 0; cmd_DOWN = 0; cmd_LEFT = 0; cmd_RIGHT = 0; cmd_A = 0; cmd_B = 0;

  Juego_Iniciar();
  DebugPC(mapa_nivel?"NIVEL 2\r\n":"NIVEL 1\r\n");

}

// Se acabaron las bananas: pasa el selector a las uvas y aparecen las uvas

static void Fase_Uvas(void)

{

  fase = 1; frutas_restantes = mapa_uvas;

  if(mapa_nivel)LCD_Bitmap(BARRA2_X,BARRA2_Y,BARRA2_W,BARRA2_H,(unsigned char*)barra_uvas2);
  else LCD_Bitmap(BARRA_X,BARRA_Y,BARRA_W,BARRA_H,(unsigned char*)barra_uvas);

  for (uint8_t i = 0; i < mapa_n; i++)

    if (mapa_objs[i].tipo == TIPO_UVA) { obj_activo[i] = 1; Obj_Redibujar(i); }

  DebugPC("FASE UVAS\r\n");

}

// Para cuando el jugador se coma una fruta (i = indice en nivel1_objs) o rompa un bloque

void Fruta_Comer(uint8_t i)

{

  if (i>=mapa_n || !obj_activo[i] || mapa_objs[i].tipo == TIPO_BLOQUE) return;

  obj_activo[i] = 0;

  Obj_Redibujar(i);

  if (--frutas_restantes == 0) {

    if (fase == 0) Fase_Uvas();

    else Juego_Terminar(1);

  }

}

void Bloque_Romper(uint8_t i)

{

  if (i>=mapa_n || !obj_activo[i] || mapa_objs[i].tipo != TIPO_BLOQUE) return;

  obj_activo[i] = 0;

  Obj_Redibujar(i);

}

/* USER CODE END PV */

void SystemClock_Config(void);

static void MX_GPIO_Init(void);

static void MX_USART2_UART_Init(void);

static void MX_SPI1_Init(void);

static void MX_USART1_UART_Init(void);

int main(void)

{

  /* MCU Configuration--------------------------------------------------------*/

  /* Reset of all peripherals, Initializes the Flash interface and the Systick. */

  HAL_Init();

  /* Configure the system clock */

  SystemClock_Config();

  /* Initialize all configured peripherals */

  MX_GPIO_Init();
  Juego_Audio_Init();

  MX_USART2_UART_Init();

  MX_SPI1_Init();

  MX_USART1_UART_Init();

  MX_FATFS_Init();

  /* USER CODE BEGIN 2 */

  HAL_GPIO_WritePin(GPIOB, LCD_CS_Pin | SD_CS_Pin, GPIO_PIN_SET);   // LCD y SD deseleccionados

  if (f_mount(&USERFatFS, USERPath, 1) == FR_OK) DebugPC("SD OK\r\n");

  else                                           DebugPC("SD ERROR\r\n");

  LCD_Init();

  // Pantalla de inicio (desde la SD)

  Pantalla_SD("inicio.bin");

  DebugPC("\r\n=== Pantalla de inicio dibujada ===\r\n");

  // Sprite "click" centrado, empieza en el cuadro 0

  uint32_t t_click = HAL_GetTick();

  uint8_t frame_click = 0;

  LCD_SpriteBG(CLICK_X, CLICK_Y, CLICK_W, CLICK_H, click_Sprite, CLICK_FRAMES, frame_click, 0, 0x0000, CLICK_BG);

  HAL_NVIC_SetPriority(USART1_IRQn, 1, 0);

  HAL_NVIC_EnableIRQ(USART1_IRQn);

  HAL_UART_Receive_IT(&huart1, &rx_byte, 1);

  /* USER CODE END 2 */

  /* Infinite loop */

  /* USER CODE BEGIN WHILE */

  while (1)

  {
    Sound8Bit_Update();

    /* USER CODE END WHILE */

    /* USER CODE BEGIN 3 */

	    if (pantalla == PANT_INICIO) {

	      if (cmd_A || cmd_B) {

	        Menu_Mostrar();

	        DebugPC("MENU\r\n");

	      }

	      else if (HAL_GetTick() - t_click >= CLICK_PERIODO) {

	        t_click = HAL_GetTick();

	        frame_click = (frame_click + 1) % CLICK_FRAMES;

	        LCD_SpriteBG(CLICK_X, CLICK_Y, CLICK_W, CLICK_H, click_Sprite, CLICK_FRAMES, frame_click, 0, 0x0000, CLICK_BG);

	      }

	    }

	    else if (pantalla == PANT_MENU) {

	      // Mover el selector

	      if (cmd_UP) {

	        cmd_UP = 0;

	        if (sel_pos != 0) Selector_Mover(0);

	      }

	      if (cmd_DOWN) {

	        cmd_DOWN = 0;

	        if (sel_pos != 1) Selector_Mover(1);

	      }

	      // Seleccionar con A o B

	      if (cmd_A || cmd_B) {

	        cmd_A = 0;

	        cmd_B = 0;

	        if (sel_pos == 0) {

	            Jugadores_Mostrar();

	        }else {

	          pantalla = PANT_CREDITOS;

	          Pantalla_SD("creditos.bin");

	          DebugPC("CREDITOS\r\n");

	        }

	      }

	      // Blink de los selectores

	      else if (HAL_GetTick() - t_sel >= SEL_PERIODO) {

	        t_sel = HAL_GetTick();

	        sel_visible ^= 1;

	        if (sel_visible) Selectores_Dibujar();

	        else             Selectores_Borrar();

	      }

	    }

	    else if (pantalla == PANT_JUGADORES) {

	      cmd_UP = 0; cmd_DOWN = 0;

	      if (cmd_LEFT)  { cmd_LEFT = 0;  if (modo_jug != 0) { modo_jug = 0; frame_p1 = 0; frame_p2 = 0; Jugadores_Dibujar(); } }

	      if (cmd_RIGHT) { cmd_RIGHT = 0; if (modo_jug != 1) { modo_jug = 1; frame_p1 = 0; frame_p2 = 0; Jugadores_Dibujar(); } }

	      if (HAL_GetTick() - t_p1 >= P1_PERIODO) {

	        t_p1 = HAL_GetTick();

	        if (modo_jug == 0) {

	          frame_p1 = (frame_p1 + 1) % P1_FRAMES;

	          LCD_SpritePatch(P1_X, P1_Y, P1_W, P1_H, (const unsigned char*)player1_seleccion, P1_FRAMES, frame_p1, P1_TRANSP, fondo_p1);

	        } else {

	          frame_p2 = (frame_p2 + 1) % P2_FRAMES;

	          LCD_SpritePatch(P2_X, P2_Y, P2_W, P2_H, (const unsigned char*)player2_seleccion, P2_FRAMES, frame_p2, P2_TRANSP, fondo_p2);

	        }

	      }

	      if (cmd_A) {

	          cmd_A = 0;

	          Sabor_Mostrar();

	      }

	      if (cmd_B) { cmd_B = 0; Menu_Mostrar(); }

	    }

	    else if (pantalla == PANT_CREDITOS) {

	      cmd_UP = 0; cmd_DOWN = 0;

	      if (cmd_A || cmd_B) Menu_Mostrar();   // A o B regresan al menu

	    }

	    else if (pantalla == PANT_SABOR) {

	      cmd_UP = 0; cmd_DOWN = 0;

	      uint8_t t = sab_turno;

	      if (cmd_LEFT)  { cmd_LEFT = 0;  if (!sab_conf[t] && sab_cur[t] > 0) { sab_cur[t]--; sab_frame[t] = 0; Sab_Redibujar(t); } }

	      if (cmd_RIGHT) { cmd_RIGHT = 0; if (!sab_conf[t] && sab_cur[t] < 2) { sab_cur[t]++; sab_frame[t] = 0; Sab_Redibujar(t); } }

	      if (cmd_A) {

	        cmd_A = 0;

	        if (!sab_conf[t] && !(t == 1 && sab_cur[1] == sab_cur[0])) {

	          sab_conf[t] = 1; sabor_elegido[t] = sab_cur[t];

	          sab_self[t] = 0; Sab_Redibujar(t); t_sab = HAL_GetTick();

	        }

	      }

	      if (cmd_B) {

	        cmd_B = 0;

	        if (sab_listo) {                       // cancelar la ultima eleccion

	          sab_listo = 0; sab_conf[t] = 0; sab_self[t] = -1; sab_frame[t] = 0; Sab_Redibujar(t);

	        } else if (t == 1) {                   // J2 regresa a J1

	          sab_conf[1] = 0; sab_self[1] = -1; sab_frame[1] = 0; Sab_Redibujar(1);

	          sab_turno = 0; sab_conf[0] = 0; sab_self[0] = -1; Sab_Redibujar(0);

	        } else {

	          Jugadores_Mostrar();

	        }

	      }

	      if (pantalla == PANT_SABOR && !sab_listo && HAL_GetTick() - t_sab >= SAB_PERIODO) {

	        t_sab = HAL_GetTick();

	        t = sab_turno;

	        if (!sab_conf[t]) { sab_frame[t] = (sab_frame[t] + 1) % 3; Sab_Redibujar(t); }

	        else if (sab_self[t] < 2) { sab_self[t]++; Sab_Redibujar(t); }

	        else if (t == 0 && num_jug == 2) { sab_turno = 1; }

	        else { sab_listo = 1; t_sab = HAL_GetTick(); DebugPC("SABORES LISTOS\r\n"); }

	      }

	      if (pantalla == PANT_SABOR && sab_listo && HAL_GetTick() - t_sab >= 600) Nivel_Mostrar();

	    }

	    else if (pantalla == PANT_NIVEL) {

	    	  cmd_UP = 0; cmd_DOWN = 0;

	    	  if (cmd_LEFT)  { cmd_LEFT = 0;  if (nivel_sel > 0) Nivel_Mover(nivel_sel - 1); }

	    	  if (cmd_RIGHT) { cmd_RIGHT = 0; if (nivel_sel < 2) Nivel_Mover(nivel_sel + 1); }

	    	  if (cmd_A) {

	    	    cmd_A = 0;

	    	    nivel_elegido = nivel_sel;

	    	    if (nivel_sel <= 1) Nivel_JuegoMostrar(nivel_sel);

	    	    else DebugPC("Nivel aun no listo\r\n");

	    	  }

	      if (cmd_B) { cmd_B = 0; Sabor_Mostrar(); }    // regresa a elegir sabor

	    }

        else if (pantalla == PANT_JUEGO) {
            Juego_Actualizar();
        }
        else if(pantalla==PANT_PAUSA){
            if(cmd_B){cmd_B=0;Juego_Reanudar();}
            cmd_A=cmd_A2=cmd_UP=cmd_DOWN=cmd_LEFT=cmd_RIGHT=0;
        }
        else if(pantalla==PANT_GAMEOVER || pantalla==PANT_VICTORIA){
            if(cmd_A || cmd_B){cmd_A=cmd_B=0;Nivel_Mostrar();}
            cmd_A2=cmd_UP=cmd_DOWN=cmd_LEFT=cmd_RIGHT=0;
        }

  }

  /* USER CODE END 3 */

}

void SystemClock_Config(void)

{

  RCC_OscInitTypeDef RCC_OscInitStruct = {0};

  RCC_ClkInitTypeDef RCC_ClkInitStruct = {0};

  /** Configure the main internal regulator output voltage

  */

  __HAL_RCC_PWR_CLK_ENABLE();

  __HAL_PWR_VOLTAGESCALING_CONFIG(PWR_REGULATOR_VOLTAGE_SCALE3);

  /** Initializes the RCC Oscillators according to the specified parameters

  * in the RCC_OscInitTypeDef structure.

  */

  RCC_OscInitStruct.OscillatorType = RCC_OSCILLATORTYPE_HSI;

  RCC_OscInitStruct.HSIState = RCC_HSI_ON;

  RCC_OscInitStruct.HSICalibrationValue = RCC_HSICALIBRATION_DEFAULT;

  RCC_OscInitStruct.PLL.PLLState = RCC_PLL_ON;

  RCC_OscInitStruct.PLL.PLLSource = RCC_PLLSOURCE_HSI;

  RCC_OscInitStruct.PLL.PLLM = 16;

  RCC_OscInitStruct.PLL.PLLN = 336;

  RCC_OscInitStruct.PLL.PLLP = RCC_PLLP_DIV4;

  RCC_OscInitStruct.PLL.PLLQ = 2;

  RCC_OscInitStruct.PLL.PLLR = 2;

  if (HAL_RCC_OscConfig(&RCC_OscInitStruct) != HAL_OK)

  {

    Error_Handler();

  }

  /** Initializes the CPU, AHB and APB buses clocks

  */

  RCC_ClkInitStruct.ClockType = RCC_CLOCKTYPE_HCLK|RCC_CLOCKTYPE_SYSCLK

                              |RCC_CLOCKTYPE_PCLK1|RCC_CLOCKTYPE_PCLK2;

  RCC_ClkInitStruct.SYSCLKSource = RCC_SYSCLKSOURCE_PLLCLK;

  RCC_ClkInitStruct.AHBCLKDivider = RCC_SYSCLK_DIV1;

  RCC_ClkInitStruct.APB1CLKDivider = RCC_HCLK_DIV2;

  RCC_ClkInitStruct.APB2CLKDivider = RCC_HCLK_DIV1;

  if (HAL_RCC_ClockConfig(&RCC_ClkInitStruct, FLASH_LATENCY_2) != HAL_OK)

  {

    Error_Handler();

  }

}

static void MX_SPI1_Init(void)

{

  /* SPI1 parameter configuration*/

  hspi1.Instance = SPI1;

  hspi1.Init.Mode = SPI_MODE_MASTER;

  hspi1.Init.Direction = SPI_DIRECTION_2LINES;

  hspi1.Init.DataSize = SPI_DATASIZE_8BIT;

  hspi1.Init.CLKPolarity = SPI_POLARITY_LOW;

  hspi1.Init.CLKPhase = SPI_PHASE_1EDGE;

  hspi1.Init.NSS = SPI_NSS_SOFT;

  hspi1.Init.BaudRatePrescaler = SPI_BAUDRATEPRESCALER_2;

  hspi1.Init.FirstBit = SPI_FIRSTBIT_MSB;

  hspi1.Init.TIMode = SPI_TIMODE_DISABLE;

  hspi1.Init.CRCCalculation = SPI_CRCCALCULATION_DISABLE;

  hspi1.Init.CRCPolynomial = 10;

  if (HAL_SPI_Init(&hspi1) != HAL_OK)

  {

    Error_Handler();

  }

}

static void MX_USART1_UART_Init(void)

{

  huart1.Instance = USART1;

  huart1.Init.BaudRate = 115200;

  huart1.Init.WordLength = UART_WORDLENGTH_8B;

  huart1.Init.StopBits = UART_STOPBITS_1;

  huart1.Init.Parity = UART_PARITY_NONE;

  huart1.Init.Mode = UART_MODE_TX_RX;

  huart1.Init.HwFlowCtl = UART_HWCONTROL_NONE;

  huart1.Init.OverSampling = UART_OVERSAMPLING_16;

  if (HAL_UART_Init(&huart1) != HAL_OK)

  {

    Error_Handler();

  }

}

static void MX_USART2_UART_Init(void)

{

  huart2.Instance = USART2;

  huart2.Init.BaudRate = 115200;

  huart2.Init.WordLength = UART_WORDLENGTH_8B;

  huart2.Init.StopBits = UART_STOPBITS_1;

  huart2.Init.Parity = UART_PARITY_NONE;

  huart2.Init.Mode = UART_MODE_TX_RX;

  huart2.Init.HwFlowCtl = UART_HWCONTROL_NONE;

  huart2.Init.OverSampling = UART_OVERSAMPLING_16;

  if (HAL_UART_Init(&huart2) != HAL_OK)

  {

    Error_Handler();

  }

}

static void MX_GPIO_Init(void)

{

  GPIO_InitTypeDef GPIO_InitStruct = {0};

  /* GPIO Ports Clock Enable */

  __HAL_RCC_GPIOC_CLK_ENABLE();

  __HAL_RCC_GPIOH_CLK_ENABLE();

  __HAL_RCC_GPIOA_CLK_ENABLE();

  __HAL_RCC_GPIOB_CLK_ENABLE();

  /*Configure GPIO pin Output Level */

  HAL_GPIO_WritePin(LCD_RESET_GPIO_Port, LCD_RESET_Pin, GPIO_PIN_RESET);

  /*Configure GPIO pin Output Level */

  HAL_GPIO_WritePin(LCD_DC_GPIO_Port, LCD_DC_Pin, GPIO_PIN_RESET);

  /*Configure GPIO pin Output Level */

  HAL_GPIO_WritePin(GPIOB, LCD_CS_Pin|SD_CS_Pin, GPIO_PIN_RESET);

  /*Configure GPIO pin : B1_Pin */

  GPIO_InitStruct.Pin = B1_Pin;

  GPIO_InitStruct.Mode = GPIO_MODE_IT_FALLING;

  GPIO_InitStruct.Pull = GPIO_NOPULL;

  HAL_GPIO_Init(B1_GPIO_Port, &GPIO_InitStruct);

  /*Configure GPIO pin : LCD_RESET_Pin */

  GPIO_InitStruct.Pin = LCD_RESET_Pin;

  GPIO_InitStruct.Mode = GPIO_MODE_OUTPUT_PP;

  GPIO_InitStruct.Pull = GPIO_NOPULL;

  GPIO_InitStruct.Speed = GPIO_SPEED_FREQ_MEDIUM;

  HAL_GPIO_Init(LCD_RESET_GPIO_Port, &GPIO_InitStruct);

  /*Configure GPIO pin : LCD_DC_Pin */

  GPIO_InitStruct.Pin = LCD_DC_Pin;

  GPIO_InitStruct.Mode = GPIO_MODE_OUTPUT_PP;

  GPIO_InitStruct.Pull = GPIO_NOPULL;

  GPIO_InitStruct.Speed = GPIO_SPEED_FREQ_MEDIUM;

  HAL_GPIO_Init(LCD_DC_GPIO_Port, &GPIO_InitStruct);

  /*Configure GPIO pins : LCD_CS_Pin SD_CS_Pin */

  GPIO_InitStruct.Pin = LCD_CS_Pin|SD_CS_Pin;

  GPIO_InitStruct.Mode = GPIO_MODE_OUTPUT_PP;

  GPIO_InitStruct.Pull = GPIO_NOPULL;

  GPIO_InitStruct.Speed = GPIO_SPEED_FREQ_MEDIUM;

  HAL_GPIO_Init(GPIOB, &GPIO_InitStruct);

}

void Error_Handler(void)

{

  __disable_irq();
  while (1)
  {
  }

}
